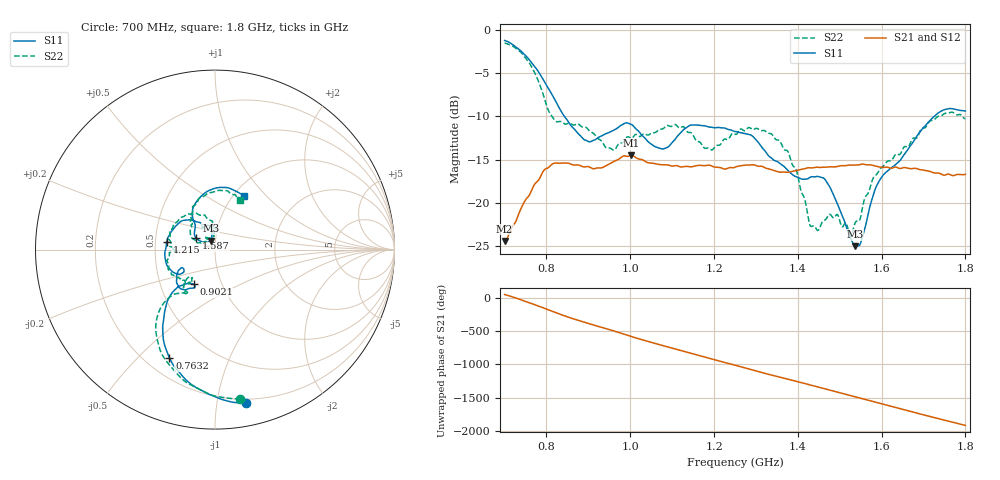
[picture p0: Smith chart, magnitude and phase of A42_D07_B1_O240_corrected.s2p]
! Created with skrf 1.9.0 (http://scikit-rf.org).
# Hz S RI R 50.0
!freq ReS11 ImS11 ReS21 ImS21 ReS12 ImS12 ReS22 ImS22
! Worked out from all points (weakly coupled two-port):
!   1601 points, 700 MHz to 1.8 GHz, reference 50 ohm
!   highest |S21| = -14.53 dB at 1.002 GHz (marker M1); lowest = -24.4 dB at 700 MHz (marker M2)
!   lowest |S11| = -25.0 dB at 1.537 GHz (marker M3), VSWR 1.12, Z = 47.4 + j4.82 ohm
!   |S11| at or under -10 dB: 842.9 MHz to 1.725 GHz (882.1 MHz wide, 68.7 % of centre)
!   |S22| runs from -23.9 to -1.5 dB; largest |S21 - S12| = 0.0035
!   S11 on the Smith chart (normalised r, x): 700 MHz: 0.17, -1.21; 763.2 MHz: 0.30, -0.62; 902.1 MHz: 0.74, -0.30; 1.215 GHz: 0.57, +0.05; 1.587 GHz: 0.80, +0.10; 1.8 GHz: 1.12, +0.76
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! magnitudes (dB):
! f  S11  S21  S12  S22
! 700 MHz  -1.2  -24.4  -24.2  -1.5
! 763.2 MHz  -3.7  -18.7  -18.7  -4.1
! 818.2 MHz  -7.9  -15.4  -15.5  -10.4
! 883.6 MHz  -12.4  -15.8  -15.7  -11.2
! 902.1 MHz  -12.9  -15.9  -15.8  -11.7
! 958.5 MHz  -11.6  -15.3  -15.3  -13.9
! 1.002 GHz  -10.9  -14.5  -14.6  -12.6
! 1.067 GHz  -13.6  -15.6  -15.5  -11.6
! 1.143 GHz  -11.0  -15.8  -15.8  -11.9
! 1.215 GHz  -11.3  -15.9  -15.9  -13.3
! 1.25 GHz  -11.7  -15.9  -15.8  -12.1
! 1.357 GHz  -15.4  -16.5  -16.4  -12.8
! 1.396 GHz  -17.0  -16.3  -16.3  -16.1
! 1.434 GHz  -17.0  -16.0  -15.9  -22.8
! 1.471 GHz  -17.7  -15.9  -15.9  -21.6
! 1.526 GHz  -24.1  -15.6  -15.6  -23.9
! 1.537 GHz  -25.0  -15.6  -15.6  -22.4
! 1.551 GHz  -24.5  -15.5  -15.6  -21.4
! 1.587 GHz  -18.2  -15.8  -15.8  -16.8
! 1.617 GHz  -16.2  -15.9  -15.9  -15.1
! 1.733 GHz  -9.7  -16.6  -16.6  -10.1
! 1.8 GHz  -9.4  -16.7  -16.7  -10.2
